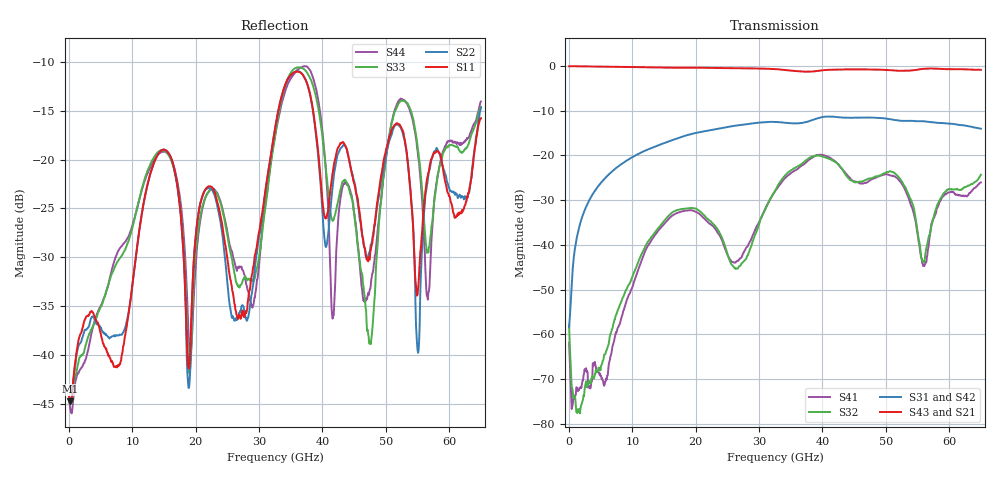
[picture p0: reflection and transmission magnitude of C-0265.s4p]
! MARKI MICROWAVE INC.
! Email:  info@markimicrowave.com  Phone:  408-778-4200
! Model Number:  C-0265  Date:  09/13
! Filename:		C-0265.S4P  Version: 1.0
! Description:  4-port S-parameter data for Coupler C-0265
! Frequency Range: 	10 MHz to 65 GHz
! Port Configuration:	PORT 1: Input
!  PORT 2: Output
!  Port 3: Coupled
!  Port 4: Isolated
! S4P File: Measurements: Mag<S11> Ang<S11> Mag<S12> Ang<S12> Mag<S13> Ang<S13> Mag<S14> Ang<S14>! row 1
!  Mag<S21> Ang<S21> Mag<S22> Ang<S22> Mag<S23> Ang<S23> Mag<S24> Ang<S24>! row 2
!  Mag<S31> Ang<S31> Mag<S32> Ang<S32> Mag<S33> Ang<S33> Mag<S34> Ang<S34>! row 3
!  Mag<S41> Ang<S41> Mag<S42> Ang<S42> Mag<S43> Ang<S43> Mag<S44> Ang<S44>! row 4
# Hz S  dB  R 50
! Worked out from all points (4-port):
!   801 points, 10 MHz to 65 GHz, reference 50 ohm
!   strongest paths, dB at 10 MHz, 16.26 GHz, 32.51 GHz, 48.75 GHz, 65 GHz:
!     S43: -0.1, -0.4, -0.7, -0.8, -0.8
!     S21: 0.0, -0.3, -0.6, -0.7, -0.8
!     S31: -58.4, -16.6, -12.5, -11.6, -14.0
!     S42: -61.7, -16.6, -12.4, -11.6, -14.2
!     S32: -58.0, -32.8, -27.9, -24.6, -24.3
!     S41: -61.8, -33.5, -28.0, -24.7, -26.0
!   lowest |S11| = -44.8 dB at 172.5 MHz (marker M1), VSWR 1.01, Z = 50.3 + j0.501 ohm
!   |S11| at or under -10 dB: start of sweep to end of sweep
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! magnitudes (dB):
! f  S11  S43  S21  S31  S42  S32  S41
! 10 MHz  -44.3  -0.1  0.0  -58.4  -61.7  -58.0  -61.8
! 172.5 MHz  -44.8  0.0  0.0  -55.1  -57.0  -64.3  -67.2
! 16.74 GHz  -21.4  -0.4  -0.3  -16.3  -16.3  -32.4  -33.1
! 47.53 GHz  -29.5  -0.8  -0.7  -11.5  -11.6  -25.1  -25.5
! 52 GHz  -16.3  -1.1  -0.8  -12.2  -12.2  -24.8  -25.4
! 55.01 GHz  -33.8  -0.8  -0.7  -12.3  -12.4  -37.0  -37.5
! 65 GHz  -15.8  -0.8  -0.8  -14.0  -14.2  -24.3  -26.0
